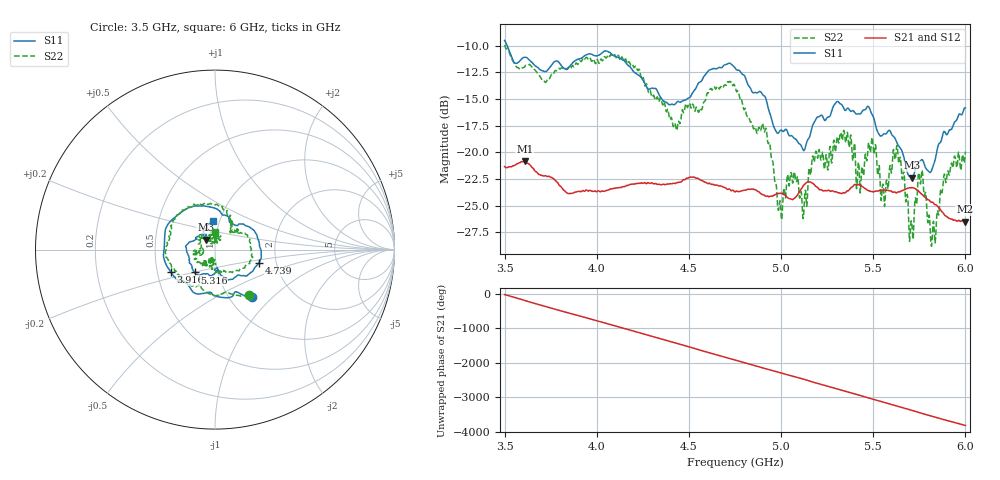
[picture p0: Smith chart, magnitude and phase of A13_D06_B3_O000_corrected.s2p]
! Created with skrf 1.9.0 (http://scikit-rf.org).
# Hz S RI R 50.0
!freq ReS11 ImS11 ReS21 ImS21 ReS12 ImS12 ReS22 ImS22
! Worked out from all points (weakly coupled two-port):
!   1601 points, 3.5 GHz to 6 GHz, reference 50 ohm
!   highest |S21| = -20.86 dB at 3.609 GHz (marker M1); lowest = -26.5 dB at 5.997 GHz (marker M2)
!   lowest |S11| = -22.4 dB at 5.711 GHz (marker M3), VSWR 1.16, Z = 44.9 + j5.07 ohm
!   |S11| at or under -10 dB: 3.514 GHz to end of sweep
!   |S22| runs from -28.8 to -9.9 dB; largest |S21 - S12| = 0.00094
!   S11 on the Smith chart (normalised r, x): 3.5 GHz: 1.28, -0.75; 3.916 GHz: 0.59, -0.16; 4.739 GHz: 1.62, -0.26; 5.316 GHz: 0.77, -0.20; 6 GHz: 0.93, +0.31
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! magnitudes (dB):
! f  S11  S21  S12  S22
! 3.5 GHz  -9.5  -21.4  -21.3  -9.9
! 3.609 GHz  -11.1  -20.9  -20.9  -12.0
! 3.916 GHz  -11.2  -23.7  -23.6  -11.5
! 3.917 GHz  -11.2  -23.7  -23.6  -11.5
! 4.334 GHz  -14.5  -23.0  -23.0  -15.2
! 4.427 GHz  -15.5  -22.9  -22.9  -17.4
! 4.739 GHz  -11.9  -23.6  -23.6  -13.8
! 4.75 GHz  -12.1  -23.7  -23.6  -13.8
! 4.911 GHz  -14.7  -24.1  -24.0  -18.1
! 4.994 GHz  -18.0  -23.9  -23.8  -24.6
! 5.062 GHz  -18.5  -24.4  -24.4  -22.9
! 5.128 GHz  -19.7  -23.0  -23.0  -24.0
! 5.167 GHz  -17.7  -22.9  -22.8  -20.8
! 5.316 GHz  -15.4  -23.8  -23.7  -18.9
! 5.584 GHz  -18.0  -23.6  -23.6  -22.6
! 5.638 GHz  -19.4  -23.7  -23.7  -20.9
! 5.711 GHz  -22.4  -23.3  -23.2  -27.0
! 5.755 GHz  -20.8  -23.8  -23.7  -22.8
! 5.825 GHz  -21.3  -24.7  -24.7  -26.6
! 5.892 GHz  -18.2  -26.0  -25.9  -22.7
! 5.997 GHz  -15.8  -26.5  -26.4  -20.6
! 6 GHz  -15.8  -26.5  -26.4  -19.9
